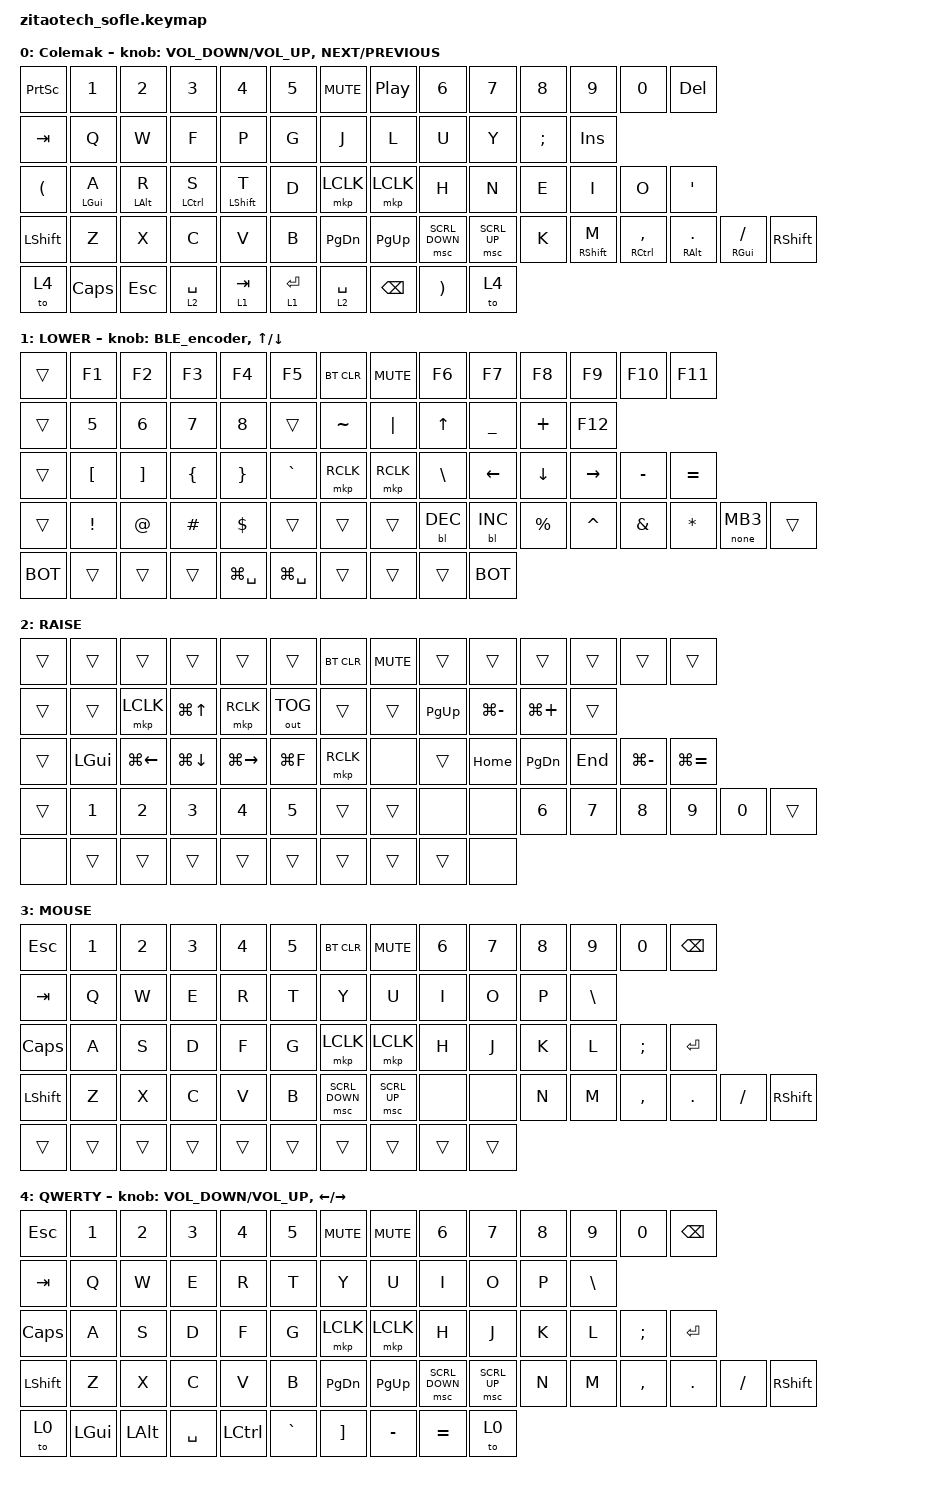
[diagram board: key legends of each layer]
/*
 * Copyright (c) 2025 ZitaoTech
 *
 * SPDX-License-Identifier: MIT
 */

#include <dt-bindings/zmk/mouse.h>
#include <behaviors.dtsi>
#include <dt-bindings/zmk/backlight.h>
#include <dt-bindings/zmk/bt.h>
#include <dt-bindings/zmk/keys.h>
#include <dt-bindings/zmk/outputs.h>
#include <dt-bindings/zmk/pointing.h>

#define FUNC 1
#define RES 2
#define BOT bootloader

/ {
    input_processors {
        zip_temp_layer: zip_temp_layer {
            compatible = "zmk,input-processor-temp-layer";
            #input-processor-cells = <2>;
        };

        ip_behaviors0: ip_behaviors0 {
            compatible = "zmk,input-processor-behaviors";
            #input-processor-cells = <0>;
            type = <INPUT_EV_KEY>;
            codes = <INPUT_BTN_0>;
            bindings = <&kp RIGHT>;
        };

        ip_behaviors1: ip_behaviors1 {
            compatible = "zmk,input-processor-behaviors";
            #input-processor-cells = <0>;
            type = <INPUT_EV_KEY>;
            codes = <INPUT_BTN_1>;
            bindings = <&kp LEFT>;
        };

        ip_behaviors2: ip_behaviors2 {
            compatible = "zmk,input-processor-behaviors";
            #input-processor-cells = <0>;
            type = <INPUT_EV_KEY>;
            codes = <INPUT_BTN_2>;
            bindings = <&kp DOWN>;
        };

        ip_behaviors3: ip_behaviors3 {
            compatible = "zmk,input-processor-behaviors";
            #input-processor-cells = <0>;
            type = <INPUT_EV_KEY>;
            codes = <INPUT_BTN_3>;
            bindings = <&kp UP>;
        };
    };
};

/ {
    behaviors {
        td0: tap_dance_0 {
            compatible = "zmk,behavior-tap-dance";
            #binding-cells = <0>;
            tapping-term-ms = <400>;
            bindings = <&mkp LCLK>, <&bt BT_CLR>;
        };
    };

    behaviors {
        tdRMCLK: tap_dance_R_LMouse {
            compatible = "zmk,behavior-tap-dance";
            #binding-cells = <0>;
            tapping-term-ms = <400>;
            bindings = <&mkp RCLK>, <&mkp MCLK>;
        };
    };

    behaviors {
        hm: homerow_mods {
            compatible = "zmk,behavior-hold-tap";
            #binding-cells = <2>;
            tapping-term-ms = <200>;
            bindings = <&kp &kp>;
            flavor = "balanced";
        };
    };

    behaviors {
        sp_sc: behavior_spacescroll {
            compatible = "zmk,behavior-hold-tap";
            #binding-cells = <2>;
            flavor = "tap-preferred";     /* 单击优先 */
            tapping-term-ms = <200>;       /* 长按阈值 */
            bindings = <&none &kp>;        /* hold=none, tap=space */
        };
    };

    behaviors {
        LMouse_sc: behavior_LMouse_Scroll {
            compatible = "zmk,behavior-hold-tap";
            #binding-cells = <2>;
            flavor = "tap-preferred";     /* 单击优先 */
            tapping-term-ms = <200>;       /* 长按阈值 */
            bindings = <&none &mkp>;        /* hold=none, tap=Lmouse */
        };
    };

    behaviors {
        M_kp: behavior_mouse_keypress {
            compatible = "zmk,behavior-hold-tap";
            #binding-cells = <2>;
            flavor = "tap-preferred";     /* 单击优先 */
            tapping-term-ms = <200>;       /* 长按阈值 */
            bindings = <&mkp &kp>;        /* hold=mou key press, tap=key*/
        };
    };

    behaviors {
        BLE_encoder: BLE_encoder {
            compatible = "zmk,behavior-sensor-rotate";
            #sensor-binding-cells = <0>;
            bindings = <&bt BT_NXT>, <&bt BT_PRV>;
        };
    };

    keymap {
        compatible = "zmk,keymap";

        default_layer {
            display-name = "Colemak";
            bindings = <
&kp PRINTSCREEN       &kp N1        &kp N2          &kp N3       &kp N4       &kp N5       &kp C_MUTE   &kp C_PLAY_PAUSE  &kp N6                 &kp N7        &kp N8    &kp N9       &kp N0           &kp DELETE
&kp TAB               &kp Q         &kp W           &kp F        &kp P        &kp G        &kp J        &kp L             &kp U                  &kp Y         &kp SEMI  &kp INSERT
&kp LEFT_PARENTHESIS  &hm LGUI A    &hm LEFT_ALT R  &hm LCTRL S  &hm LSHFT T  &kp D        &mkp LCLK    &mkp LCLK         &kp H                  &kp N         &kp E     &kp I        &kp O            &kp APOS
&kp LSHFT             &kp Z         &kp X           &kp C        &kp V        &kp B        &kp PG_DN    &kp PG_UP         &msc SCRL_DOWN         &msc SCRL_UP  &kp K     &hm RSHFT M  &hm RCTRL COMMA  &hm RIGHT_ALT PERIOD  &hm RGUI SLASH  &kp RSHIFT
&to 4                 &kp CAPSLOCK  &kp ESCAPE      &lt 2 SPACE  &lt 1 TAB    &lt 1 ENTER  &lt 2 SPACE  &kp BACKSPACE     &kp RIGHT_PARENTHESIS  &to 4
            >;

            sensor-bindings =
                <&inc_dec_kp C_VOLUME_DOWN C_VOLUME_UP>,
                <&inc_dec_kp C_NEXT C_PREVIOUS>;
        };

        lower_layer {
            display-name = "LOWER";
            bindings = <
&trans  &kp F1            &kp F2             &kp F3          &kp F4           &kp F5         &bt BT_CLR  &kp C_MUTE  &kp F6         &kp F7          &kp F8       &kp F9     &kp F10        &kp F11
&trans  &kp N5            &kp NUMBER_6       &kp N7          &kp N8           &trans         &kp TILDE   &kp PIPE    &kp UP         &kp UNDERSCORE  &kp PLUS     &kp F12
&trans  &kp LEFT_BRACKET  &kp RIGHT_BRACKET  &kp LEFT_BRACE  &kp RIGHT_BRACE  &kp GRAVE      &mkp RCLK   &mkp RCLK   &kp BACKSLASH  &kp LEFT        &kp DOWN     &kp RIGHT  &kp MINUS      &kp EQUAL
&trans  &kp EXCLAMATION   &kp AT             &kp HASH        &kp DOLLAR       &trans         &trans      &trans      &bl BL_DEC     &bl BL_INC      &kp PERCENT  &kp CARET  &kp AMPERSAND  &kp ASTERISK  &LMouse_sc 0 MB3  &trans
&BOT    &trans            &trans             &trans          &kp LG(SPACE)    &kp LG(SPACE)  &trans      &trans      &trans         &BOT
            >;

            sensor-bindings = <&BLE_encoder &inc_dec_kp UP DOWN>;
        };

        raise_layer {
            display-name = "RAISE";
            bindings = <
&trans  &trans        &trans        &trans        &trans         &trans        &bt BT_CLR  &kp C_MUTE  &trans       &trans         &trans         &trans   &trans         &trans
&trans  &trans        &mkp LCLK     &kp LG(UP)    &mkp RCLK      &out OUT_TOG  &trans      &trans      &kp PAGE_UP  &kp LG(MINUS)  &kp LG(PLUS)   &trans
&trans  &kp LGUI      &kp LG(LEFT)  &kp LG(DOWN)  &kp LG(RIGHT)  &kp LG(F)     &mkp RCLK   &none       &trans       &kp HOME       &kp PAGE_DOWN  &kp END  &kp LG(MINUS)  &kp LG(EQUAL)
&trans  &kp NUMBER_1  &kp N2        &kp N3        &kp N4         &kp N5        &trans      &trans      &none        &none          &kp N6         &kp N7   &kp N8         &kp N9         &kp N0  &trans
&none   &trans        &trans        &trans        &trans         &trans        &trans      &trans      &trans       &none
            >;
        };

        MOUSE_layer {
            display-name = "MOUSE";
            bindings = <
&kp ESC    &kp N1  &kp N2  &kp N3  &kp N4  &kp N5  &bt BT_CLR      &kp C_MUTE    &kp N6  &kp N7  &kp N8  &kp N9    &kp N0     &kp BSPC
&kp TAB    &kp Q   &kp W   &kp E   &kp R   &kp T   &kp Y           &kp U         &kp I   &kp O   &kp P   &kp BSLH
&kp CAPS   &kp A   &kp S   &kp D   &kp F   &kp G   &mkp LCLK       &mkp LCLK     &kp H   &kp J   &kp K   &kp L     &kp SEMI   &kp ENTER
&kp LSHFT  &kp Z   &kp X   &kp C   &kp V   &kp B   &msc SCRL_DOWN  &msc SCRL_UP  &none   &none   &kp N   &kp M     &kp COMMA  &kp DOT    &kp FSLH  &kp RSHIFT
&trans     &trans  &trans  &trans  &trans  &trans  &trans          &trans        &trans  &trans
            >;
        };

        RES_layer {
            display-name = "QWERTY";
            bindings = <
&kp ESC    &kp N1    &kp N2    &kp N3     &kp N4     &kp N5     &kp C_MUTE         &kp C_MUTE  &kp N6          &kp N7        &kp N8  &kp N9    &kp N0     &kp BSPC
&kp TAB    &kp Q     &kp W     &kp E      &kp R      &kp T      &kp Y              &kp U       &kp I           &kp O         &kp P   &kp BSLH
&kp CAPS   &kp A     &kp S     &kp D      &kp F      &kp G      &mkp LCLK          &mkp LCLK   &kp H           &kp J         &kp K   &kp L     &kp SEMI   &kp ENTER
&kp LSHFT  &kp Z     &kp X     &kp C      &kp V      &kp B      &kp PG_DN          &kp PG_UP   &msc SCRL_DOWN  &msc SCRL_UP  &kp N   &kp M     &kp COMMA  &kp DOT    &kp FSLH  &kp RSHIFT
&to 0      &kp LGUI  &kp LALT  &kp SPACE  &kp LCTRL  &kp GRAVE  &kp RIGHT_BRACKET  &kp MINUS   &kp EQUAL       &to 0
            >;

            sensor-bindings =
                <&inc_dec_kp C_VOLUME_DOWN C_VOLUME_UP>,
                <&inc_dec_kp LEFT RIGHT>;
        };
    };
};
